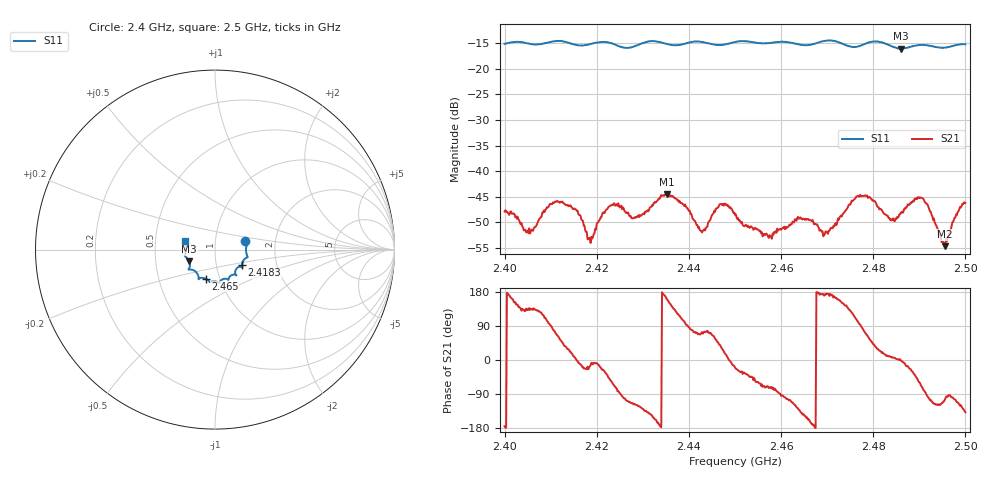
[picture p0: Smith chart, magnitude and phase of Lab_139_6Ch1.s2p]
# Hz S RI R 50
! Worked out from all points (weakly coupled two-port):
!   601 points, 2.4 GHz to 2.5 GHz, reference 50 ohm
!   highest |S21| = -44.44 dB at 2.4352 GHz (marker M1); lowest = -54.6 dB at 2.4955 GHz (marker M2)
!   lowest |S11| = -16.1 dB at 2.486 GHz (marker M3), VSWR 1.37, Z = 37.2 - j4.95 ohm
!   |S11| at or under -10 dB: start of sweep to end of sweep
!   S12 and S22 are empty: the file has one direction only
!   S11 on the Smith chart (normalised r, x): 2.4 GHz: 1.40, +0.13; 2.4183 GHz: 1.33, -0.24; 2.465 GHz: 0.86, -0.29; 2.5 GHz: 0.71, +0.07
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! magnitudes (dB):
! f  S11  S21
! 2.4 GHz  -15.1  -47.9
! 2.4052 GHz  -15.1  -52.1
! 2.411 GHz  -14.6  -45.9
! 2.4167 GHz  -15.5  -49.5
! 2.4183 GHz  -15.2  -53.3
! 2.4232 GHz  -15.0  -46.6
! 2.428 GHz  -15.7  -49.2
! 2.4333 GHz  -14.7  -45.5
! 2.4352 GHz  -15.2  -44.4
! 2.4428 GHz  -14.8  -52.0
! 2.4468 GHz  -15.4  -46.4
! 2.45 GHz  -14.8  -48.5
! 2.4575 GHz  -15.0  -52.5
! 2.465 GHz  -15.4  -49.3
! 2.4667 GHz  -15.3  -49.7
! 2.4697 GHz  -14.5  -51.7
! 2.4777 GHz  -15.3  -44.8
! 2.4833 GHz  -15.3  -49.1
! 2.486 GHz  -16.1  -48.1
! 2.4905 GHz  -15.3  -45.2
! 2.4955 GHz  -15.9  -54.6
! 2.5 GHz  -15.2  -46.2
